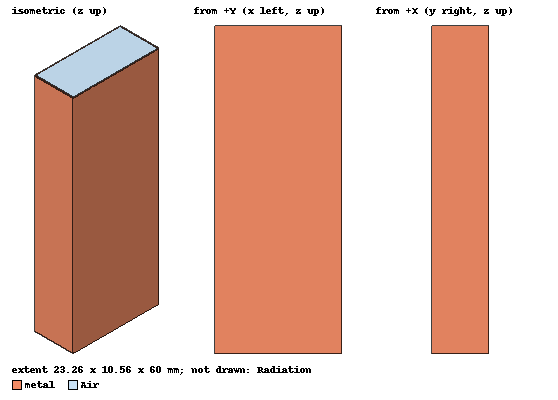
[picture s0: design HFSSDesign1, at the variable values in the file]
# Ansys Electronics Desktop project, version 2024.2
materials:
  vacuum: permittivity=1
  copper: permeability=0.999991 conductivity=58000000
  air: permittivity=1.0006 permeability=1.0000004

design HFSSDesign1 (HFSS, HFSS Modal Network, model units mm)
options: Allow_Material_Override
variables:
  a = 22.86mm
  b = 10.16mm
  L = 60mm
  th = 0.2mm
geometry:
  Box1 = box(corner=(-a/2, -b/2, 0mm), size=(a, b, L))
  metal [copper] = box(corner=(-a/2-th, -b/2-th, 0mm), size=(a+2*th, b+2*th, L))
  metal.subtract(Box1)
  Air [air] = box(corner=(-a/2, -b/2, 0mm), size=(a, b, L))
  Radiation [air] = box(corner=(-a/2-5mm, -b/2-5mm, 0mm), size=(a+10mm, b+10mm, L))
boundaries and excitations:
  Rad1: Radiation Objects=Radiation
  1: Wave Port Faces=Air.face(-z) WavePortType=Default NumModes=4 Modes{Mode1{IntLine{(0, -5.08, 0) -> (0, 5.08, 0)} CharImp=Zpi} Mode2{CharImp=Zpi} Mode3{CharImp=Zpi} Mode4{CharImp=Zpi}}
  2: Wave Port Faces=Air.face(+z) WavePortType=Default NumModes=4 Modes{Mode1{IntLine{(1000mm, 5000mm, 60000mm) -> (0, -5.08, 60)} CharImp=Zpi} Mode2{CharImp=Zpi} Mode3{CharImp=Zpi} Mode4{CharImp=Zpi}}
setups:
  Setup1: HfssDriven Frequency=10GHz MaxDeltaS=0.02 MaximumPasses=12 MinimumPasses=1 MinimumConvergedPasses=1 PercentRefinement=30 BasisOrder=1 PortAccuracy=2 DrivenSolverType="Direct Solver"
    sweep Sweep: 5GHz to 17GHz step 0.1GHz; Type=Discrete SaveFields
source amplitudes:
  1:1: 1W 0deg
  1:2, 1:3, 1:4, 2:1..2:4: 0W 0deg
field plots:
  Mag_E1: E Field in Air on Setup1 : Sweep at Freq=17GHz Phase=0deg
  Vector_E1: E Field in Air on Setup1 : LastAdaptive at Freq=10GHz Phase=0deg
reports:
  S Parameter Plot 1: dB(S(2:1,1:1)) vs Freq on Setup1 : Sweep
  Gamma Plot 1: im(Gamma(1:1)), im(Gamma(1:2)), im(Gamma(1:3)), im(Gamma(1:4)) vs Freq on Setup1 : Sweep
  S Parameter Plot 2: dB(S(1:1,1:2)), dB(S(1:1,2:2)), dB(S(1:1,2:3)), dB(S(1:4,2:4)) vs Freq on Setup1 : Sweep; markers m1 at 5.2GHz, m2 at 5.6GHz, m3 at 5.5GHz, m4 at 5.5GHz, m5 at 6.7GHz, m6 at 12.6GHz, m7 at 10.6GHz, m8 at 9.8GHz
